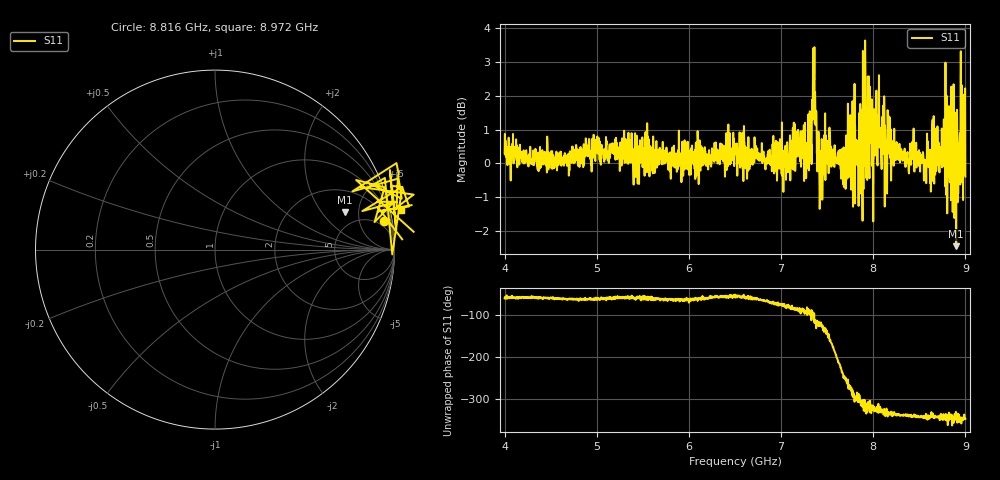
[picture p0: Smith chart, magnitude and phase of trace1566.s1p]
! Created with skrf 1.8.0 (http://scikit-rf.org).
# Hz S RI R 50.0
!freq ReS11 ImS11
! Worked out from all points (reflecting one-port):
!   1601 points, 4 GHz to 9 GHz, reference 50 ohm
!   lowest |S11| = -2.4 dB at 8.9 GHz (marker M1), VSWR 7.18, Z = 180 + j176 ohm
!   phase of S11 starts at -60 deg and turns -286 deg over the sweep
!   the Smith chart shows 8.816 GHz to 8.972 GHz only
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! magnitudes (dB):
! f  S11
! 4 GHz  0.3
! 4.625 GHz  0.0
! 4.988 GHz  0.4
! 5.25 GHz  -0.2
! 5.875 GHz  0.2
! 6.5 GHz  0.6
! 7.038 GHz  0.1
! 7.125 GHz  0.5
! 7.306 GHz  0.3
! 7.359 GHz  2.5
! 7.412 GHz  0.0
! 7.438 GHz  -0.2
! 7.509 GHz  0.1
! 7.659 GHz  0.3
! 7.75 GHz  1.4
! 7.859 GHz  1.8
! 7.928 GHz  1.3
! 7.962 GHz  2.3
! 7.981 GHz  0.6
! 8.097 GHz  0.8
! 8.216 GHz  0.5
! 8.375 GHz  0.1
! 8.612 GHz  0.1
! 8.738 GHz  0.4
! 8.775 GHz  0.9
! 8.9 GHz  -2.4
! 8.972 GHz  0.5
! 9 GHz  -0.4
